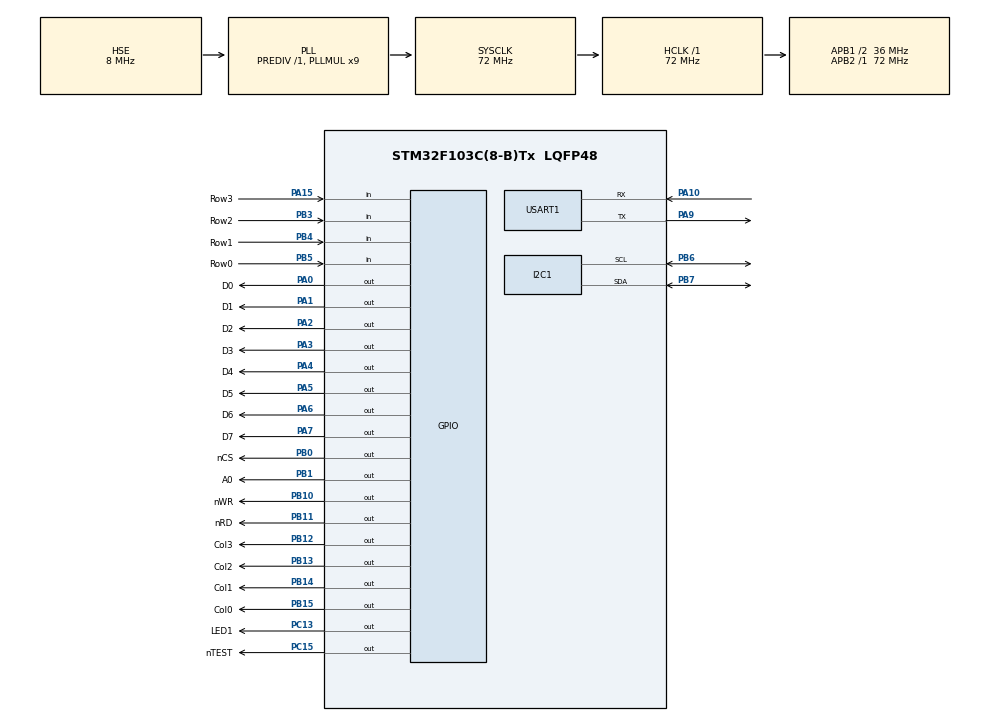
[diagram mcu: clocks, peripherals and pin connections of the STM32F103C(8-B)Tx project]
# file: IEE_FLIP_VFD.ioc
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Mcu.Family=STM32F1
Mcu.Name=STM32F103C(8-B)Tx
Mcu.Package=LQFP48
NVIC.I2C1_EV_IRQn=true\:0\:0\:false\:false\:true\:true\:true\:true
NVIC.PriorityGroup=NVIC_PRIORITYGROUP_4
NVIC.TIM1_UP_IRQn=true\:0\:0\:false\:false\:true\:true\:true\:true
NVIC.TIM2_IRQn=true\:0\:0\:false\:false\:true\:true\:true\:true
NVIC.TIM3_IRQn=true\:5\:0\:true\:false\:true\:true\:true\:true
NVIC.USART1_IRQn=true\:0\:0\:false\:false\:true\:true\:true\:true
PA0-WKUP.GPIO_Label=D0
PA0-WKUP.Signal=GPIO_Output
PA1.GPIO_Label=D1
PA1.Signal=GPIO_Output
PA10.Mode=Asynchronous
PA10.Signal=USART1_RX
PA13.Mode=Serial_Wire
PA13.Signal=SYS_JTMS-SWDIO
PA14.Mode=Serial_Wire
PA14.Signal=SYS_JTCK-SWCLK
PA15.GPIO_Label=Row3
PA15.GPIO_PuPd=GPIO_PULLUP
PA15.Signal=GPIO_Input
PA2.GPIO_Label=D2
PA2.Signal=GPIO_Output
PA3.GPIO_Label=D3
PA3.Signal=GPIO_Output
PA4.GPIO_Label=D4
PA4.Signal=GPIO_Output
PA5.GPIO_Label=D5
PA5.Signal=GPIO_Output
PA6.GPIO_Label=D6
PA6.Signal=GPIO_Output
PA7.GPIO_Label=D7
PA7.Signal=GPIO_Output
PA9.Mode=Asynchronous
PA9.Signal=USART1_TX
PB0.GPIO_Label=nCS
PB0.PinState=GPIO_PIN_SET
PB0.Signal=GPIO_Output
PB1.GPIO_Label=A0
PB1.PinState=GPIO_PIN_RESET
PB1.Signal=GPIO_Output
PB10.GPIO_Label=nWR
PB10.PinState=GPIO_PIN_SET
PB10.Signal=GPIO_Output
PB11.GPIO_Label=nRD
PB11.PinState=GPIO_PIN_SET
PB11.Signal=GPIO_Output
PB12.GPIO_Label=Col3
PB12.GPIO_ModeDefaultOutputPP=GPIO_MODE_OUTPUT_OD
PB12.GPIO_PuPd=GPIO_NOPULL
PB12.GPIO_Speed=GPIO_SPEED_FREQ_MEDIUM
PB12.PinState=GPIO_PIN_SET
PB12.Signal=GPIO_Output
PB13.GPIO_Label=Col2
PB13.GPIO_ModeDefaultOutputPP=GPIO_MODE_OUTPUT_OD
PB13.GPIO_PuPd=GPIO_NOPULL
PB13.GPIO_Speed=GPIO_SPEED_FREQ_MEDIUM
PB13.PinState=GPIO_PIN_SET
PB13.Signal=GPIO_Output
PB14.GPIO_Label=Col1
PB14.GPIO_ModeDefaultOutputPP=GPIO_MODE_OUTPUT_OD
PB14.GPIO_PuPd=GPIO_NOPULL
PB14.GPIO_Speed=GPIO_SPEED_FREQ_MEDIUM
PB14.PinState=GPIO_PIN_SET
PB14.Signal=GPIO_Output
PB15.GPIO_Label=Col0
PB15.GPIO_ModeDefaultOutputPP=GPIO_MODE_OUTPUT_OD
PB15.GPIO_PuPd=GPIO_NOPULL
PB15.GPIO_Speed=GPIO_SPEED_FREQ_MEDIUM
PB15.PinState=GPIO_PIN_SET
PB15.Signal=GPIO_Output
PB3.GPIO_Label=Row2
PB3.GPIO_PuPd=GPIO_PULLUP
PB3.Signal=GPIO_Input
PB4.GPIO_Label=Row1
PB4.GPIO_PuPd=GPIO_PULLUP
PB4.Signal=GPIO_Input
PB5.GPIO_Label=Row0
PB5.GPIO_PuPd=GPIO_PULLUP
PB5.Signal=GPIO_Input
PB6.Mode=I2C
PB6.Signal=I2C1_SCL
PB7.Mode=I2C
PB7.Signal=I2C1_SDA
PC13-TAMPER-RTC.GPIO_Label=LED1
PC13-TAMPER-RTC.Signal=GPIO_Output
PC15-OSC32_OUT.GPIO_Label=nTEST
PC15-OSC32_OUT.PinState=GPIO_PIN_SET
PC15-OSC32_OUT.Signal=GPIO_Output
PD0-OSC_IN.Mode=HSE-External-Oscillator
PD0-OSC_IN.Signal=RCC_OSC_IN
PD1-OSC_OUT.Mode=HSE-External-Oscillator
PD1-OSC_OUT.Signal=RCC_OSC_OUT
ProjectManager.HeapSize=0x200
ProjectManager.StackSize=0x400
ProjectManager.TargetToolchain=STM32CubeIDE
RCC.AHBFreq_Value=72000000
RCC.APB1CLKDivider=RCC_HCLK_DIV2
RCC.APB1Freq_Value=36000000
RCC.APB1TimFreq_Value=72000000
RCC.APB2Freq_Value=72000000
RCC.APB2TimFreq_Value=72000000
RCC.HCLKFreq_Value=72000000
RCC.PLLMUL=RCC_PLL_MUL9
RCC.PLLSourceVirtual=RCC_PLLSOURCE_HSE
RCC.SYSCLKFreq_VALUE=72000000
RCC.SYSCLKSource=RCC_SYSCLKSOURCE_PLLCLK
RCC.USBFreq_Value=72000000
TIM1.Period=200-1
TIM1.Prescaler=7200-1
TIM2.Period=200
TIM2.Prescaler=7200-1
TIM3.Period=40000-1
TIM4.Prescaler=18-1
USART1.VirtualMode=VM_ASYNC
VP_TIM1_VS_ClockSourceINT.Mode=Internal
VP_TIM2_VS_ClockSourceINT.Mode=Internal
VP_TIM3_VS_ClockSourceINT.Mode=Internal
VP_TIM4_VS_ClockSourceINT.Mode=Internal
board=custom

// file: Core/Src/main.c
/* USER CODE BEGIN Header */
/**
  ******************************************************************************
  * @file           : main.c
  * @brief          : Main program body
  ******************************************************************************
  * @attention
  *
  * Copyright (c) 2024 STMicroelectronics.
  * All rights reserved.
  *
  * This software is licensed under terms that can be found in the LICENSE file
  * in the root directory of this software component.
  * If no LICENSE file comes with this software, it is provided AS-IS.
  *
  ******************************************************************************
  *
  * Date:    18-Aug-2024
  * Author:  David Waskevich
  *
  * Description: Test application for IEE FLIP 03600-20-040 Vacuum Fluorescent Display
  *
  *              Note - adapted/ported from original Sparkfun FreeSOC2 PSoC5LP/CortexM3-based
  *              Arduino-style development kit version (available in develop branch of
  *              https://github.com/dwaskevich/IEE_FLIP_Vacuum_Fluorescent_Display.git)
  *
  * Hardware:    STM32 Blue Pill (https://predictabledesigns.com/introduction-stm32-blue-pill-stm32duino/)
  *              STM32F103C8T6 CortexM3-based development kit (64K Flash/20K SRAM, 3.3V)
  *              -> note, 30k Flash used (47%), 19k SRAM used (95%)
  *
  * IDE:         STM32CubeIDE Version: 1.16.0
  *
  * Wiring:      8-bit parallel data bus to display --> PA[7:0] (BluePill P3 header, pins 12-5)
  *              /CS   - PB0  (BluePill P3 header, pin 13)
  *               A0   - PB1  (BluePill P3 header, pin 14)
  *              /WR   - PB10 (BluePill P3 header, pin 15)
  *              /RD   - PB11 ... not used (BluePill P3 header, pin 16)
  *              /TEST - PC15 (BluePill P3 header, pin 4)
  *
  * Peripheral setup:
  *              UART - USART1 ... Tx = PA9, Rx = PA10
  *              Escape sequence timeout timer - TIM1 (oneshot mode, 20 ms interrupt)
  *              Readback timer - TIM2 (oneshot mode, 20/50 ms interrupt)
  *              Switch matrix timer - TIM3 (555 us interrupt)
  *              Hardware-based delay - TIM4 (.5 us count)
  *              I2C1 - future use (CapSense buttons)
  *              Program/Debug - SWD ... PA13 (SWDIO)/PA14 (SWDCK)
  *
  * Serial terminal (TeraTerm, etc) navigation:
  *              Up/Down arrow keys - scroll back/forward to previous/next line
  *              Right/Left arrow keys - replay line, fast/normal playback speed
  *              PageUp/PageDown keys - scroll back/forward PAGE_JUMP_SIZE lines
  *              Home key - return to the most recent line
  *              End key - go directly to the oldest line/record
  *              Delete key - enter pause/single-step mode (subsequent presses single-steps readback)
  *              Insert key - dual-purpose for now ... print the deepest FIFO level so far
  *              	and resume readback (i.e. restart readback/TIM2 timer)
  *              Escape key - abandon (escape) a readback by quickly recalling the line
  *
  * 4x4 matrix button navigation:
  *             		Col0	Col1	Col2	Col3
  *             Row0	PageUp	Home	N/A		SingleStep
  *             Row1	PageDn	End		N/A		Resume
  *             Row2	N/A		N/A		N/A		ScrollUp
  *             Row3	ReadBkF	Escape	ReadBk	ScrollDn
  *
  * Usage:       #include <iee_flip_03600_20_040.h>
  *              NOTE - arbitrarily chose BELL (ctrl-G) character to reset display.  *
  *
  * Update 18-Aug-2024:
  *		- imported source/header files from PSoC version
  *
  * Update 19-Aug-2024:
  *		- completed low-level hardware drivers for STM32
  *
  * Update 20-Aug-2024:
  *		- replaced HAL_Delay with cycle count
  *
  * Update 22-Aug-2024:
  *		- added 4x4 switch matrix
  *		- imported debounce library from https://github.com/tcleg/Button_Debouncer/tree/master
  *			-> note ... debounce library is an implementation of Jack Ganssle (https://www.ganssle.com/debouncing-pt2.htm)
  *		- replaced cycle count delay with TIM4 delay function
  *
  * Update 23-Aug-2024:
  *		- modified behavior of single-step readback
  *			-> if held, single-step reads back characters at half the readback speed
  *			-> when released, readback timer is stopped and reloaded with previous readback speed value
  *			-> press_and_release behaves the same (reads back one character for each button press)
  *
  * Update 24-Aug-2024:
  *		- fine tuned TIM4 delay function
  *			-> TIM4 is on 72MHz bus
  *			-> prescaler set to 18 (well, 18 - 1) ... 4MHz counter frequency
  *			-> modified delay_us() function to account for 4MHz clock
  *		- deactivated all column drivers in default switch condition
  *
  *
  */
/* USER CODE END Header */
#include "main.h"

/* USER CODE BEGIN Includes */
#include "stm32f1xx_ll_gpio.h"
#include "iee_flip_03600_20_040.h"
#include "stdio.h"
#include "string.h"
#include "stdbool.h"
#include "button_debounce.h"

/* USER CODE END Includes */

/* USER CODE BEGIN PD */
#define UART_FIFO_SIZE          (4096u)
#define PAGE_JUMP_SIZE          (10u)
#define INITIALIZE_REPLAY   	(0xffff)

#define LED_OFF     (1u)
#define LED_ON      (0u)

/* switch matrix defines */
#define COLUMN_INACTIVE			(1u)
#define COLUMN_ACTIVE			(0u)
#define NUM_DISPLAY_COLUMNS		(9u)
#define INTRA_COLUMN_DELAY_US	(2u)

/* USER CODE END PD */

I2C_HandleTypeDef hi2c1;

TIM_HandleTypeDef htim1;
TIM_HandleTypeDef htim2;
TIM_HandleTypeDef htim3;
TIM_HandleTypeDef htim4;

UART_HandleTypeDef huart1;

/* USER CODE BEGIN PV */
volatile uint16_t fifo_MaxLevelReached; /* debug-oriented measure of FIFO utilization */
uint8_t rxBuffer[80]; /* may not be necessary, single variable may be enough ... needs testing */
volatile uint16_t headPointer = 0, tailPointer = 0; /* FIFO head and tail pointers */
uint8_t rxFIFO[UART_FIFO_SIZE]; /* Rx FIFO ... no rollover protection, older characters overwritten if FIFO fills */
/* main loop decision flags */
volatile bool timeoutFlag = false, readBackFlag = false, singleStepFlag = false, readButtonFlag = false;
/* button processing variables */
volatile uint8_t rawButtons0 = 0, rawButtons1 = 0;
Debouncer buttons0;
Debouncer buttons1;
/* timer restore variable */
uint32_t timerRestorValue;

/* Escape sequence state machine (decodes/parses multi-character keyboard escape sequences) */
enum escSeqStates
{
    ESCAPE, /* ESC character (0x1b) detected */
    X5B,    /* looking for second escape sequence character (0x5b) */
    X7E     /* some keys (HOME, END, INSERT) generate 4-byte sequence with last character = 0x7e */
};
enum escSeqStates escSeqState = ESCAPE;

/* Switch matrix key names */
enum switchMatrix
{
	NONE		=	0x0000,
	ONE 		=	0x0001, PAGEUP = ONE,
	FOUR 		=	0x0002, PAGEDN = FOUR,
	SEVEN		=	0x0004,
	ASTERISK	=	0x0008, READBKF = ASTERISK,
	TWO			=	0x0010, GOHOME = TWO,
	FIVE		=	0x0020, GOEND = FIVE,
	EIGHT		=	0x0040,
	ZERO		=	0x0080, ESCRB = ZERO,
	THREE		=	0x0100,
	SIX			=	0x0200,
	NINE		=	0x0400,
	HASH		=	0x0800, READBK = HASH,
	SINGLE_STEP	=	0x1000,
	RESUME		=	0x2000,
	SCROLL_UP	=	0x4000,
	SCROLL_DOWN	=	0x8000
} keyNames;

/* USER CODE END PV */

void SystemClock_Config(void);
static void MX_GPIO_Init(void);
static void MX_TIM1_Init(void);
static void MX_TIM2_Init(void);
static void MX_USART1_UART_Init(void);
static void MX_I2C1_Init(void);
static void MX_TIM3_Init(void);
static void MX_TIM4_Init(void);
/* USER CODE BEGIN PFP */

void delay_us(uint16_t delay);

/* USER CODE END PFP */

int main(void)
{

  /* USER CODE BEGIN 1 */
  uint8_t printBuffer[100]; /* used for sprintf debugging */
  uint8_t rxData;
  uint8_t entryMode, cursorPosition;
  uint16_t currentLineBufferID = 0;
  uint8_t updateDisplayFlag = FALSE;
  bool isEchoFlag = true;
  bool isEscapeSequenceFlag = false;
  char escSequence[4] = {0};
  uint8_t escSequenceNum = 0;
  bool clearDisplayFlag = false;
  static uint16_t recallLineNumber = 0;
  static uint16_t replayCharNumber = 0;
  uint8_t* str;
  uint16_t buttonsPressed = 0, previousButtonsPressed = 0;

  /* USER CODE END 1 */

  /* MCU Configuration--------------------------------------------------------*/

  /* Reset of all peripherals, Initializes the Flash interface and the Systick. */
  HAL_Init();

  /* Configure the system clock */
  SystemClock_Config();

  /* Initialize all configured peripherals */
  MX_GPIO_Init();
  MX_TIM1_Init();
  MX_TIM2_Init();
  MX_USART1_UART_Init();
  MX_I2C1_Init();
  MX_TIM3_Init();
  MX_TIM4_Init();
  /* USER CODE BEGIN 2 */

  HAL_UART_Receive_IT(&huart1, rxBuffer, 1); /* start UART in interrupt mode */
  HAL_UART_Transmit(&huart1, (uint8_t *) "\x1b[2J\x1b[;HUART started\r\n", sizeof("\x1b[2J\x1b[;HUART started\r\n"), 500);
  HAL_GPIO_WritePin(LED1_GPIO_Port, LED1_Pin, LED_OFF);

  /* initialize VFD display (returns entry mode defined in .h file) */
  entryMode = VFD_InitializeDisplay(DEFAULT_ENTRY_MODE);

  /* initialize display history */
  sprintf((char *) printBuffer, "Initializing display history. Number of pages = %d\r\n", VFD_InitDisplayHistory());
  HAL_UART_Transmit(&huart1, printBuffer, strlen((char *) printBuffer), 100);

  sprintf((char *) printBuffer, "SRAM usage for display history = %d\r\n", VFD_GetSizeOfHistoryArray());
  HAL_UART_Transmit(&huart1, printBuffer, strlen((char *) printBuffer), 100);

  /* clear timer interrupts before starting forever loop */
  __HAL_TIM_CLEAR_IT(&htim1, TIM_FLAG_UPDATE);
  __HAL_TIM_CLEAR_IT(&htim2, TIM_FLAG_UPDATE);
  __HAL_TIM_CLEAR_IT(&htim3, TIM_FLAG_UPDATE);

  HAL_TIM_Base_Start_IT(&htim3);
  HAL_TIM_Base_Start(&htim4);

  ButtonDebounceInit(&buttons0, 0);
  ButtonDebounceInit(&buttons1, 0);

  /* USER CODE END 2 */

  /* Infinite loop */
  /* USER CODE BEGIN WHILE */
  while (1)
  {
	  /* check rxFIFO for incoming characters */
	  if(tailPointer != headPointer) /* if true, new data is available */
	  {
		  rxData = rxFIFO[tailPointer++]; /* retrieve new character from FIFO */
		  if(tailPointer >= UART_FIFO_SIZE) /* manage FIFO pointer rollover */
			  tailPointer = 0;
		  isEchoFlag = true; /* set flag on each new character received (true if printable character, will be reset to false if escape sequence is detected) */
		  HAL_TIM_Base_Stop_IT(&htim1); /* stop the ESC timeout timer on each new character received */

		  /* parse incoming characters for carriage return and/or line feed */
		  if(CR == rxData || LF == rxData) /* handle CR/LF here */
		  {
			  if(CR == rxData)
				  HAL_UART_Transmit(&huart1, &rxData, 1, 100); /* echo back */

			  if(LF == rxData)
				  HAL_UART_Transmit(&huart1, &rxData, 1, 100); /* echo back */

              replayCharNumber = INITIALIZE_REPLAY; /* indicates that single-step should start at 0 */
              clearDisplayFlag = true; /* reminder to clear display on next received character (style/aesthetic choice) */
              HAL_GPIO_WritePin(LED1_GPIO_Port, LED1_Pin, LED_ON); /* UserLED "ON" to indicate end-of-line (display clear pending) */

              currentLineBufferID = VFD_CreateNewLine(); /* get index for new/next line in DisplayHistory array */
              recallLineNumber = currentLineBufferID; /* make note of current line as the new recall line number */

              sprintf((char *) printBuffer, "\rLine Buffer ID = %d\r\n", currentLineBufferID);
              HAL_UART_Transmit(&huart1, printBuffer, strlen((char *) printBuffer), 100);
		  }
		  else if(CTRL_G == rxData) /* clear display */
		  {
			  sprintf((char *) printBuffer, "\r\nClearDisplay = 0x%02x\r\n", rxData);
			  HAL_UART_Transmit(&huart1, printBuffer, strlen((char *) printBuffer), 100);
              replayCharNumber = INITIALIZE_REPLAY; /* indicates that single-step should start at 0 */
              VFD_ClearDisplay();
		  }
		  else if(DEL == rxData) /* enter pause/single-step mode */
		  {
			  HAL_TIM_Base_Stop_IT(&htim2); /* stop the readback timer */
			  sprintf((char *) printBuffer, "DEL - single stepping line number %d\r\n", recallLineNumber);
			  HAL_UART_Transmit(&huart1, printBuffer, strlen((char *) printBuffer), 100);
			  singleStepFlag = true;
		  }
		  else if(ESC == rxData) /* ESC key detected ... determine if it's just the ESC key or beginning of an escape sequence */
		  {
              escSequenceNum = 0; /* track the number of characters in the escape sequence (debug) */
              escSequence[escSequenceNum++] = rxData; /* save ESC character for later (also debug) */
              isEchoFlag = false; /* negate flag to prevent escape sequence characters from being echoed */
              isEscapeSequenceFlag = true; /* ESC key detected, escape sequence is (potentially) active */
              HAL_TIM_Base_Start_IT(&htim1); /* start timeout timer (timeout period set to 20ms), will abort sequence if oneshot timer expires */
		  }
          else if(true == isEscapeSequenceFlag) /* escape key was previously detected ... parse escape sequence with state machine */
          {
              isEchoFlag = false; /* negate flag to prevent escape sequence characters from being echoed */
              switch(escSeqState) /* process/parse escape sequence */
              {
                  case ESCAPE: /* ESC key was previously detected, check next character for expected value of 0x5b */
                      if(0x5b == rxData)
                      {
                          escSequence[escSequenceNum++] = rxData; /* save character for later use */
                          escSeqState = X5B; /* move to next state */
                      }
                      else /* expected character (0x5b) in escape sequence not found ... abort */
                      {
                          isEscapeSequenceFlag = false; /* abort escape sequence processing */
                          escSeqState = ESCAPE; /* return to initial/idle state */
                      }

                      break;

                  case X5B: /* expected character (0x5b) previously found ... keep parsing escape sequence (3rd character in sequence) */
                      if(UP_ARROW == rxData) /* scroll back one line */
                      {
                          escSequence[escSequenceNum++] = rxData; /* save character for later use */
                          isEscapeSequenceFlag = false; /* escape sequence complete, return to normal mode */
                          escSeqState = ESCAPE; /* return to initial/idle state */
                          /* take action here */
                          if(0 == recallLineNumber) /* handle circular boundary */
                              recallLineNumber = NUMBER_PAGES - 1;
                          else
                              recallLineNumber -= 1;
                          sprintf((char *) printBuffer, "UP_ARROW   recall line\t... %3d\t", recallLineNumber);
                          HAL_UART_Transmit(&huart1, printBuffer, strlen((char *) printBuffer), 100);
                          replayCharNumber = INITIALIZE_REPLAY; /* indicates that single-step should start at 0 */
                          str = VFD_RecallLine(recallLineNumber); /* recall line from history and write it to display */
                          HAL_UART_Transmit(&huart1, str, strlen((char *) str), 100);
                          HAL_UART_Transmit(&huart1, (uint8_t*)"\r\n", 2, 100);
                      }
                      else if(DOWN_ARROW == rxData) /* scroll forward one line */
                      {
                          escSequence[escSequenceNum++] = rxData; /* save character for later use */
                          isEscapeSequenceFlag = false; /* escape sequence complete, return to normal mode */
                          escSeqState = ESCAPE; /* return to initial/idle state */
                          /* take action here */
                          if((NUMBER_PAGES - 1) == recallLineNumber) /* handle circular boundary */
                              recallLineNumber = 0;
                          else
                              recallLineNumber += 1;
                          sprintf((char *) printBuffer, "DOWN_ARROW recall line\t... %3d\t", recallLineNumber);
                          HAL_UART_Transmit(&huart1, printBuffer, strlen((char *) printBuffer), 100);
                          replayCharNumber = INITIALIZE_REPLAY; /* indicates that single-step should start at 0 */
                          str = VFD_RecallLine(recallLineNumber); /* recall line from history and write it to display */
                          HAL_UART_Transmit(&huart1, str, strlen((char *) str), 100);
                          HAL_UART_Transmit(&huart1, (uint8_t*)"\r\n", 2, 100);
                      }
                      else if(RIGHT_ARROW == rxData) /* replay line, normal playback speed */
                      {
                          escSequence[escSequenceNum++] = rxData; /* save character for later use */
                          isEscapeSequenceFlag = false; /* escape sequence complete, return to normal mode */
                          escSeqState = ESCAPE; /* return to initial/idle state */
                          /* take action here */
                          sprintf((char *) printBuffer, "RIGHT_ARROW (replay line) %d\r\n", recallLineNumber);
                          HAL_UART_Transmit(&huart1, printBuffer, strlen((char *) printBuffer), 100);
                          VFD_ClearDisplay();
                          __HAL_TIM_SetCounter(&htim2, 0);
                          __HAL_TIM_SetAutoreload(&htim2, READBACK_TIMER_PERIOD); /* change readback speed */
                          replayCharNumber = VFD_ReplayLine(recallLineNumber, 0); /* request to write character to display */
                          HAL_TIM_Base_Start_IT(&htim2); /* readBackFlag (set in readback timer isr) will request the next character */
                      }
                      else if(LEFT_ARROW == rxData) /* replay line, fast playback speed */
                      {
                          escSequence[escSequenceNum++] = rxData; /* save character for later use */
                          isEscapeSequenceFlag = false; /* escape sequence complete, return to normal mode */
                          escSeqState = ESCAPE; /* return to initial/idle state */
                          /* take action here */
                          sprintf((char *) printBuffer, "LEFT_ARROW (replay line) %d\r\n", recallLineNumber);
                          HAL_UART_Transmit(&huart1, printBuffer, strlen((char *) printBuffer), 100);
                          VFD_ClearDisplay();
                          __HAL_TIM_SetCounter(&htim2, 0);
                          __HAL_TIM_SetAutoreload(&htim2, FAST_READBACK_TIMER_PERIOD); /* change readback speed */
                          replayCharNumber = VFD_ReplayLine(recallLineNumber, 0); /* request to write character to display */
                          HAL_TIM_Base_Start_IT(&htim2); /* readBackFlag (set in readback timer isr) will request the next character */
                      }
                      else if(PAGE_UP == rxData) /* scroll back PAGE_JUMP_SIZE lines */
                      {
                          escSequence[escSequenceNum++] = rxData; /* save character for later use */
                          escSeqState = X7E; /* PAGE_UP is a 4-byte sequence, move to last state */
                          /* take action here */
                          if(recallLineNumber < PAGE_JUMP_SIZE) /* handle circular boundary */
                              recallLineNumber = (NUMBER_PAGES - 1) - (PAGE_JUMP_SIZE - recallLineNumber);
                          else
                              recallLineNumber -= PAGE_JUMP_SIZE;
                          sprintf((char *) printBuffer, "PAGE_UP    recall line\t... %3d\t", recallLineNumber);
                          HAL_UART_Transmit(&huart1, printBuffer, strlen((char *) printBuffer), 100);
                          replayCharNumber = INITIALIZE_REPLAY; /* indicates that single-step should start at 0 */
                          str = VFD_RecallLine(recallLineNumber); /* recall line from history and write it to display */
                          HAL_UART_Transmit(&huart1, str, strlen((char *) str), 100);
                          HAL_UART_Transmit(&huart1, (uint8_t*)"\r\n", 2, 100);
                      }
                      else if(PAGE_DOWN == rxData) /* scroll forward PAGE_JUMP_SIZE lines */
                      {
                          escSequence[escSequenceNum++] = rxData; /* save character for later use */
                          escSeqState = X7E; /* PAGE_DOWN is a 4-byte sequence, move to last state */
                          /* take action here */
                          if(recallLineNumber >= (NUMBER_PAGES - 1) - PAGE_JUMP_SIZE) /* handle circular boundary */
                              recallLineNumber = PAGE_JUMP_SIZE - ((NUMBER_PAGES - 1) - recallLineNumber);
                          else
                              recallLineNumber += PAGE_JUMP_SIZE;
                          sprintf((char *) printBuffer, "PAGE_DOWN  recall line\t... %3d\t", recallLineNumber);
                          HAL_UART_Transmit(&huart1, printBuffer, strlen((char *) printBuffer), 100);
                          replayCharNumber = INITIALIZE_REPLAY; /* indicates that single-step should start at 0 */
                          str = VFD_RecallLine(recallLineNumber); /* recall line from history and write it to display */
                          HAL_UART_Transmit(&huart1, str, strlen((char *) str), 100);
                          HAL_UART_Transmit(&huart1, (uint8_t*)"\r\n", 2, 100);
                      }
                      else if(HOME == rxData) /* return to the most recent line */
                      {
                          escSequence[escSequenceNum++] = rxData; /* save character for later use */
                          escSeqState = X7E; /* HOME is a 4-byte sequence, move to last state */
                          /* take action here */
                          replayCharNumber = INITIALIZE_REPLAY; /* indicates that single-step should start at 0 */
                          recallLineNumber = VFD_ReturnHome(); /* VFD_ReturnHome prints latest line and returns line number */
                          sprintf((char *) printBuffer, "HOME - calling VFD_ReturnHome() ... returned line number %d\r\n", recallLineNumber);
                          HAL_UART_Transmit(&huart1, printBuffer, strlen((char *) printBuffer), 100);
                      }
                      else if(END == rxData) /* go directly to the oldest line/record */
                      {
                          escSequence[escSequenceNum++] = rxData; /* save character for later use */
                          escSeqState = X7E; /* END is a 4-byte sequence, move to last state */
                          /* take action here */
                          replayCharNumber = INITIALIZE_REPLAY; /* indicates that single-step should start at 0 */
                          recallLineNumber = VFD_GoToOldest(); /* VFD_GoToOldest searches/finds (then prints) oldest line in history and returns line number */
                          sprintf((char *) printBuffer, "END - calling VFD_GoToOldest() ... returned line number %d\r\n", recallLineNumber);
                          HAL_UART_Transmit(&huart1, printBuffer, strlen((char *) printBuffer), 100);
                      }
                      else if(INSERT == rxData) /* placeholder for now ... print the deepest FIFO level so far */
                      {
                          escSequence[escSequenceNum++] = rxData; /* save character for later use */
                          escSeqState = X7E; /* INSERT is a 4-byte sequence, move to last state */
                          /* take action here */
                          sprintf((char *) printBuffer, "INSERT - fifo_MaxLevelReached = %d out of %d\r\n", fifo_MaxLevelReached, sizeof(rxFIFO));
                          HAL_UART_Transmit(&huart1, printBuffer, strlen((char *) printBuffer), 100);
                          HAL_UART_Transmit(&huart1, (uint8_t*)"restarting readback timer ...\r\n", strlen((char *)"restarting readback timer ...\r\n"), 100);
                          HAL_TIM_Base_Start_IT(&htim2);
                      }
                      else /* unknown/unexpected 3rd character */
                      {
                    	  HAL_UART_Transmit(&huart1, (uint8_t*)"Untracked 3-byte sequence\r\n", strlen((char *)"Untracked 3-byte sequence\r\n"), 100);
                          escSeqState = X7E;
                      }

                      break;

                  case X7E: /* last (4th) character of escape sequence (0x7e) */
                      if(0x7e == rxData)
                      {
                          escSequence[escSequenceNum++] = rxData; /* save character for later use */
                          /* cosmetics/debug ... print captured sequence */
                          HAL_UART_Transmit(&huart1, (uint8_t*)"4-Byte Sequence ... ", strlen((char *)"4-Byte Sequence ... "), 100);
                          for(uint8_t i = 0; i < 4; i++)
                          {
                              sprintf((char *) printBuffer, "%02x ", escSequence[i]);
                              HAL_UART_Transmit(&huart1, printBuffer, strlen((char *) printBuffer), 100);
                          }
                          HAL_UART_Transmit(&huart1, (uint8_t*)"\r\n", 2, 100);
                          isEscapeSequenceFlag = false; /* escape sequence complete, return to normal mode */
                          escSeqState = ESCAPE; /* return to initial/idle state */
                      }
                      else /* unexpected 4th character, abort escape sequence parsing */
                      {
                          HAL_UART_Transmit(&huart1, (uint8_t*)"Unexpected 4th character, aborting escape sequence parsing.\r\n", \
                        		  strlen((char *)"Unexpected 4th character, aborting escape sequence parsing.\r\n"), 100);
                          escSeqState = ESCAPE; /* return to initial/idle state */
                      }

                      break;

                  default:

                      break;
              }
          }
          else if(true == isEchoFlag) /* process printable characters here */
          {
              if(true == clearDisplayFlag) /* reminder to clear display if this is the first character of a new line */
              {
            	  HAL_GPIO_WritePin(LED1_GPIO_Port, LED1_Pin, LED_OFF); /* cosmetics ... LED_OFF indicates new line in progress */
                  replayCharNumber = INITIALIZE_REPLAY; /* indicates that single-step should start at 0 */
                  VFD_ClearDisplay(); /* this is the first character of a new line, clear display */
                  if(RIGHT_ENTRY == entryMode) /* cosmetic (positions underline at end of display) */
                      VFD_PositionCursor(DISPLAY_LINE_LENGTH - 1);
                  clearDisplayFlag = false;
              }
              HAL_UART_Transmit(&huart1, &rxData, 1, 100); /* echo received character */
              currentLineBufferID = VFD_PostToHistory(rxData); /* write to display history */
              recallLineNumber = currentLineBufferID; /* drag recallLineNumber along */
              updateDisplayFlag = TRUE; /* indicate need for display update */
          }
	  }

      if(true == timeoutFlag) /* ESC key only, not an escape sequence */
      {
    	  HAL_UART_Transmit(&huart1, (uint8_t*)"ESC\r\n", strlen((char *)"ESC\r\n"), 100); /* ESC key is a way to abandon (escape) a readback by quickly recalling the line */
          isEscapeSequenceFlag = false; /* abort/end escape sequence processing */
          timeoutFlag = false; /* clear the timer timeout interrupt flag */
          /* take action here */
          HAL_TIM_Base_Stop_IT(&htim2); /* don't need the readback timer interrupt any more ... just recall the line */
          replayCharNumber = INITIALIZE_REPLAY; /* indicates that single-step should start at 0 */
          VFD_RecallLine(recallLineNumber); /* just paint display quickly */
      }

      if(true == readBackFlag) /* readback in progress, request next character */
      {
          readBackFlag = false; /* clear the readback timer interrupt flag */
          replayCharNumber = VFD_ReplayLine(recallLineNumber, replayCharNumber); /* request a character to be printed to the display */
          if(0 != replayCharNumber) /* check if line is complete */
          {
        	  HAL_TIM_Base_Start_IT(&htim2); /* trigger/start readback oneshot timer ... TC interrupt handler will set readBackFlag */
          }
          else
              replayCharNumber = INITIALIZE_REPLAY; /* indicates that single-step should start at 0 */
      }

      if(true == singleStepFlag) /* singleStep active ... request one character */
      {
          singleStepFlag = false; /* clear the single step flag */
          if(INITIALIZE_REPLAY == replayCharNumber) /* 0xffff indicates that single-step should start at 0 */
          {
              VFD_ClearDisplay();
              replayCharNumber = VFD_ReplayLine(recallLineNumber, 0); /* request a character to be printed to the display */
          }
          else if(0 != replayCharNumber) /* check if line is complete */
          {
              replayCharNumber = VFD_ReplayLine(recallLineNumber, replayCharNumber); /* request another character to be printed to the display */
          }
      }

      if(TRUE == updateDisplayFlag) /* process display updates here */
      {
          cursorPosition = VFD_UpdateDisplay(); /* update/write to display */
          updateDisplayFlag = FALSE;
      }

      if(TRUE == readButtonFlag)
      {
    	  ButtonProcess(&buttons0, rawButtons0);
    	  ButtonProcess(&buttons1, rawButtons1);

    	  readButtonFlag = false;
      }

      buttonsPressed = (ButtonCurrent(&buttons1, BUTTON_PIN_0 | BUTTON_PIN_1 | BUTTON_PIN_2 | BUTTON_PIN_3 | BUTTON_PIN_4 | BUTTON_PIN_5 | BUTTON_PIN_6 | BUTTON_PIN_7)) << 8;
      buttonsPressed |= ButtonCurrent(&buttons0, BUTTON_PIN_0 | BUTTON_PIN_1 | BUTTON_PIN_2 | BUTTON_PIN_3 | BUTTON_PIN_4 | BUTTON_PIN_5 | BUTTON_PIN_6 | BUTTON_PIN_7);
      if(buttonsPressed != previousButtonsPressed)
	  {
//		  sprintf((char *) printBuffer, "Buttons pressed = 0x%04x\r\n", buttonsPressed);
//		  HAL_UART_Transmit(&huart1, printBuffer, strlen((char *) printBuffer), 100);
		  previousButtonsPressed = buttonsPressed;

		  switch(buttonsPressed)
		  {
		  	  case	NONE:

		  		break;

		  	  case	SCROLL_UP:
		  		  if(0 == recallLineNumber) /* handle circular boundary */
		  			  recallLineNumber = NUMBER_PAGES - 1;
		  		  else
		  			  recallLineNumber -= 1;
		  		  sprintf((char *) printBuffer, "Scroll up,   recall line ... %3d  ", recallLineNumber);
		  		  HAL_UART_Transmit(&huart1, printBuffer, strlen((char *) printBuffer), 100);
		  		  replayCharNumber = INITIALIZE_REPLAY; /* indicates that single-step should start at 0 */
		  		  str = VFD_RecallLine(recallLineNumber); /* recall line from history and write it to display */
		  		  HAL_UART_Transmit(&huart1, str, strlen((char *) str), 100);
		  		  HAL_UART_Transmit(&huart1, (uint8_t*)"\r\n", 2, 100);

		  		break;

		  	  case	SCROLL_DOWN:
                  if((NUMBER_PAGES - 1) == recallLineNumber) /* handle circular boundary */
                      recallLineNumber = 0;
                  else
                      recallLineNumber += 1;
                  sprintf((char *) printBuffer, "Scroll down, recall line ... %3d  ", recallLineNumber);
                  HAL_UART_Transmit(&huart1, printBuffer, strlen((char *) printBuffer), 100);
                  replayCharNumber = INITIALIZE_REPLAY; /* indicates that single-step should start at 0 */
                  str = VFD_RecallLine(recallLineNumber); /* recall line from history and write it to display */
                  HAL_UART_Transmit(&huart1, str, strlen((char *) str), 100);
                  HAL_UART_Transmit(&huart1, (uint8_t*)"\r\n", 2, 100);

		  		break;

		  	  case	SINGLE_STEP: /* press&release reads back one character at a time, press&hold readbacks characters at half normal readback speed */
				  HAL_TIM_Base_Stop_IT(&htim2); /* stop the readback timer */
				  timerRestorValue = __HAL_TIM_GetAutoreload(&htim2); /* save timer value for later restore */
                  __HAL_TIM_SetCounter(&htim2, 0); /* reset counter */
                  __HAL_TIM_SetAutoreload(&htim2, SINGLE_STEP_TIMER_PERIOD); /* change readback speed */
                  HAL_TIM_Base_Start_IT(&htim2); /* restart the timer ... interrupts will readback another character */
				  sprintf((char *) printBuffer, "Single stepping line number %d\r\n", recallLineNumber);
				  HAL_UART_Transmit(&huart1, printBuffer, strlen((char *) printBuffer), 100);
				  singleStepFlag = true;

		  		break;

		  	  case	RESUME: /* escape single-step mode (i.e. resume readback */
                  sprintf((char *) printBuffer, "fifo_MaxLevelReached = %d out of %d\r\n", fifo_MaxLevelReached, sizeof(rxFIFO));
                  HAL_UART_Transmit(&huart1, printBuffer, strlen((char *) printBuffer), 100);
                  HAL_UART_Transmit(&huart1, (uint8_t*)"restarting readback timer ...\r\n", strlen((char *)"restarting readback timer ...\r\n"), 100);
                  HAL_TIM_Base_Start_IT(&htim2);

		  		break;

		  	  case	READBKF: /* Readback (replay) current line at fast speed */
                  sprintf((char *) printBuffer, "Replay line (fast) %d\r\n", recallLineNumber);
                  HAL_UART_Transmit(&huart1, printBuffer, strlen((char *) printBuffer), 100);
                  VFD_ClearDisplay();
                  __HAL_TIM_SetCounter(&htim2, 0); /* reset counter */
                  __HAL_TIM_SetAutoreload(&htim2, FAST_READBACK_TIMER_PERIOD); /* change readback speed */
                  replayCharNumber = VFD_ReplayLine(recallLineNumber, 0); /* request to write character to display */
                  HAL_TIM_Base_Start_IT(&htim2); /* readBackFlag (set in readback timer isr) will request the next character */

		  		break;

		  	  case	READBK: /* Readback (replay) current line at normal speed */
                  sprintf((char *) printBuffer, "Replay line (normal speed) %d\r\n", recallLineNumber);
                  HAL_UART_Transmit(&huart1, printBuffer, strlen((char *) printBuffer), 100);
                  VFD_ClearDisplay();
                  __HAL_TIM_SetCounter(&htim2, 0);
                  __HAL_TIM_SetAutoreload(&htim2, READBACK_TIMER_PERIOD); /* change readback speed */
                  replayCharNumber = VFD_ReplayLine(recallLineNumber, 0); /* request to write character to display */
                  HAL_TIM_Base_Start_IT(&htim2); /* readBackFlag (set in readback timer isr) will request the next character */

		  		break;

		  	  case	ESCRB: /* (ESCapeReadBack) - return immediately to end of current line */
                  sprintf((char *) printBuffer, "Return to end of line %d\r\n", recallLineNumber);
                  HAL_UART_Transmit(&huart1, printBuffer, strlen((char *) printBuffer), 100);
		  		  HAL_TIM_Base_Stop_IT(&htim2); /* don't need the readback timer interrupt any more ... just recall the line */
		          replayCharNumber = INITIALIZE_REPLAY; /* indicates that single-step should start at 0 */
		          VFD_RecallLine(recallLineNumber); /* just paint display quickly */

		  		break;

		  	  case	PAGEUP: /* scroll back PAGE_JUMP_SIZE lines */
                  if(recallLineNumber < PAGE_JUMP_SIZE) /* handle circular boundary */
                      recallLineNumber = (NUMBER_PAGES - 1) - (PAGE_JUMP_SIZE - recallLineNumber);
                  else
                      recallLineNumber -= PAGE_JUMP_SIZE;
                  sprintf((char *) printBuffer, "Recall line\t... %3d\t", recallLineNumber);
                  HAL_UART_Transmit(&huart1, printBuffer, strlen((char *) printBuffer), 100);
                  replayCharNumber = INITIALIZE_REPLAY; /* indicates that single-step should start at 0 */
                  str = VFD_RecallLine(recallLineNumber); /* recall line from history and write it to display */
                  HAL_UART_Transmit(&huart1, str, strlen((char *) str), 100);
                  HAL_UART_Transmit(&huart1, (uint8_t*)"\r\n", 2, 100);

		  		break;

		  	  case	PAGEDN: /* scroll forward PAGE_JUMP_SIZE lines */
                  if(recallLineNumber >= (NUMBER_PAGES - 1) - PAGE_JUMP_SIZE) /* handle circular boundary */
                      recallLineNumber = PAGE_JUMP_SIZE - ((NUMBER_PAGES - 1) - recallLineNumber);
                  else
                      recallLineNumber += PAGE_JUMP_SIZE;
                  sprintf((char *) printBuffer, "Recall line\t... %3d\t", recallLineNumber);
                  HAL_UART_Transmit(&huart1, printBuffer, strlen((char *) printBuffer), 100);
                  replayCharNumber = INITIALIZE_REPLAY; /* indicates that single-step should start at 0 */
                  str = VFD_RecallLine(recallLineNumber); /* recall line from history and write it to display */
                  HAL_UART_Transmit(&huart1, str, strlen((char *) str), 100);
                  HAL_UART_Transmit(&huart1, (uint8_t*)"\r\n", 2, 100);

		  		break;

		  	  case	GOHOME: /* GoHome ... return to the most recent line */
                  replayCharNumber = INITIALIZE_REPLAY; /* indicates that single-step should start at 0 */
                  recallLineNumber = VFD_ReturnHome(); /* VFD_ReturnHome prints latest line and returns line number */
                  sprintf((char *) printBuffer, "Return home - calling VFD_ReturnHome() ... returned line number %d\r\n", recallLineNumber);
                  HAL_UART_Transmit(&huart1, printBuffer, strlen((char *) printBuffer), 100);

		  		break;

		  	  case	GOEND: /* GoToEnd ... go directly to the oldest line/record */
                  replayCharNumber = INITIALIZE_REPLAY; /* indicates that single-step should start at 0 */
                  recallLineNumber = VFD_GoToOldest(); /* VFD_GoToOldest searches/finds (then prints) oldest line in history and returns line number */
                  sprintf((char *) printBuffer, "END - calling VFD_GoToOldest() ... returned line number %d\r\n", recallLineNumber);
                  HAL_UART_Transmit(&huart1, printBuffer, strlen((char *) printBuffer), 100);

		  		break;

		  	  default:
		  		HAL_UART_Transmit(&huart1, (uint8_t*)"Unassigned key\r\n", strlen((char *)"Unassigned key\r\n"), 100);

		  		break;

		  }
      }

      if(ButtonReleased(&buttons1, (uint8_t) (SINGLE_STEP >> 8)))
      {
		  HAL_TIM_Base_Stop_IT(&htim2); /* stop the readback timer */
		  __HAL_TIM_SetAutoreload(&htim2, timerRestorValue); /* restore timer value to what it was before single stepping */
          __HAL_TIM_SetCounter(&htim2, 0); /* reset counter */
      }

    /* USER CODE END WHILE */

  }
}

void SystemClock_Config(void)
{
  RCC_OscInitTypeDef RCC_OscInitStruct = {0};
  RCC_ClkInitTypeDef RCC_ClkInitStruct = {0};

  /** Initializes the RCC Oscillators according to the specified parameters
  * in the RCC_OscInitTypeDef structure.
  */
  RCC_OscInitStruct.OscillatorType = RCC_OSCILLATORTYPE_HSE;
  RCC_OscInitStruct.HSEState = RCC_HSE_ON;
  RCC_OscInitStruct.HSEPredivValue = RCC_HSE_PREDIV_DIV1;
  RCC_OscInitStruct.HSIState = RCC_HSI_ON;
  RCC_OscInitStruct.PLL.PLLState = RCC_PLL_ON;
  RCC_OscInitStruct.PLL.PLLSource = RCC_PLLSOURCE_HSE;
  RCC_OscInitStruct.PLL.PLLMUL = RCC_PLL_MUL9;
  if (HAL_RCC_OscConfig(&RCC_OscInitStruct) != HAL_OK)
  {
    Error_Handler();
  }

  /** Initializes the CPU, AHB and APB buses clocks
  */
  RCC_ClkInitStruct.ClockType = RCC_CLOCKTYPE_HCLK|RCC_CLOCKTYPE_SYSCLK
                              |RCC_CLOCKTYPE_PCLK1|RCC_CLOCKTYPE_PCLK2;
  RCC_ClkInitStruct.SYSCLKSource = RCC_SYSCLKSOURCE_PLLCLK;
  RCC_ClkInitStruct.AHBCLKDivider = RCC_SYSCLK_DIV1;
  RCC_ClkInitStruct.APB1CLKDivider = RCC_HCLK_DIV2;
  RCC_ClkInitStruct.APB2CLKDivider = RCC_HCLK_DIV1;

  if (HAL_RCC_ClockConfig(&RCC_ClkInitStruct, FLASH_LATENCY_2) != HAL_OK)
  {
    Error_Handler();
  }
}

static void MX_I2C1_Init(void)
{

  hi2c1.Instance = I2C1;
  hi2c1.Init.ClockSpeed = 100000;
  hi2c1.Init.DutyCycle = I2C_DUTYCYCLE_2;
  hi2c1.Init.OwnAddress1 = 0;
  hi2c1.Init.AddressingMode = I2C_ADDRESSINGMODE_7BIT;
  hi2c1.Init.DualAddressMode = I2C_DUALADDRESS_DISABLE;
  hi2c1.Init.OwnAddress2 = 0;
  hi2c1.Init.GeneralCallMode = I2C_GENERALCALL_DISABLE;
  hi2c1.Init.NoStretchMode = I2C_NOSTRETCH_DISABLE;
  if (HAL_I2C_Init(&hi2c1) != HAL_OK)
  {
    Error_Handler();
  }

}

static void MX_TIM1_Init(void)
{

  TIM_ClockConfigTypeDef sClockSourceConfig = {0};
  TIM_MasterConfigTypeDef sMasterConfig = {0};

  htim1.Instance = TIM1;
  htim1.Init.Prescaler = 7200-1;
  htim1.Init.CounterMode = TIM_COUNTERMODE_UP;
  htim1.Init.Period = 200-1;
  htim1.Init.ClockDivision = TIM_CLOCKDIVISION_DIV1;
  htim1.Init.RepetitionCounter = 0;
  htim1.Init.AutoReloadPreload = TIM_AUTORELOAD_PRELOAD_DISABLE;
  if (HAL_TIM_Base_Init(&htim1) != HAL_OK)
  {
    Error_Handler();
  }
  sClockSourceConfig.ClockSource = TIM_CLOCKSOURCE_INTERNAL;
  if (HAL_TIM_ConfigClockSource(&htim1, &sClockSourceConfig) != HAL_OK)
  {
    Error_Handler();
  }
  sMasterConfig.MasterOutputTrigger = TIM_TRGO_RESET;
  sMasterConfig.MasterSlaveMode = TIM_MASTERSLAVEMODE_DISABLE;
  if (HAL_TIMEx_MasterConfigSynchronization(&htim1, &sMasterConfig) != HAL_OK)
  {
    Error_Handler();
  }

}

static void MX_TIM2_Init(void)
{

  TIM_ClockConfigTypeDef sClockSourceConfig = {0};
  TIM_MasterConfigTypeDef sMasterConfig = {0};

  htim2.Instance = TIM2;
  htim2.Init.Prescaler = 7200-1;
  htim2.Init.CounterMode = TIM_COUNTERMODE_UP;
  htim2.Init.Period = 200;
  htim2.Init.ClockDivision = TIM_CLOCKDIVISION_DIV1;
  htim2.Init.AutoReloadPreload = TIM_AUTORELOAD_PRELOAD_DISABLE;
  if (HAL_TIM_Base_Init(&htim2) != HAL_OK)
  {
    Error_Handler();
  }
  sClockSourceConfig.ClockSource = TIM_CLOCKSOURCE_INTERNAL;
  if (HAL_TIM_ConfigClockSource(&htim2, &sClockSourceConfig) != HAL_OK)
  {
    Error_Handler();
  }
  sMasterConfig.MasterOutputTrigger = TIM_TRGO_RESET;
  sMasterConfig.MasterSlaveMode = TIM_MASTERSLAVEMODE_DISABLE;
  if (HAL_TIMEx_MasterConfigSynchronization(&htim2, &sMasterConfig) != HAL_OK)
  {
    Error_Handler();
  }

}

static void MX_TIM3_Init(void)
{

  TIM_ClockConfigTypeDef sClockSourceConfig = {0};
  TIM_MasterConfigTypeDef sMasterConfig = {0};

  htim3.Instance = TIM3;
  htim3.Init.Prescaler = 0;
  htim3.Init.CounterMode = TIM_COUNTERMODE_UP;
  htim3.Init.Period = 40000-1;
  htim3.Init.ClockDivision = TIM_CLOCKDIVISION_DIV1;
  htim3.Init.AutoReloadPreload = TIM_AUTORELOAD_PRELOAD_DISABLE;
  if (HAL_TIM_Base_Init(&htim3) != HAL_OK)
  {
    Error_Handler();
  }
  sClockSourceConfig.ClockSource = TIM_CLOCKSOURCE_INTERNAL;
  if (HAL_TIM_ConfigClockSource(&htim3, &sClockSourceConfig) != HAL_OK)
  {
    Error_Handler();
  }
  sMasterConfig.MasterOutputTrigger = TIM_TRGO_RESET;
  sMasterConfig.MasterSlaveMode = TIM_MASTERSLAVEMODE_DISABLE;
  if (HAL_TIMEx_MasterConfigSynchronization(&htim3, &sMasterConfig) != HAL_OK)
  {
    Error_Handler();
  }

}

static void MX_TIM4_Init(void)
{

  TIM_ClockConfigTypeDef sClockSourceConfig = {0};
  TIM_MasterConfigTypeDef sMasterConfig = {0};

  htim4.Instance = TIM4;
  htim4.Init.Prescaler = 18-1;
  htim4.Init.CounterMode = TIM_COUNTERMODE_UP;
  htim4.Init.Period = 65535;
  htim4.Init.ClockDivision = TIM_CLOCKDIVISION_DIV1;
  htim4.Init.AutoReloadPreload = TIM_AUTORELOAD_PRELOAD_DISABLE;
  if (HAL_TIM_Base_Init(&htim4) != HAL_OK)
  {
    Error_Handler();
  }
  sClockSourceConfig.ClockSource = TIM_CLOCKSOURCE_INTERNAL;
  if (HAL_TIM_ConfigClockSource(&htim4, &sClockSourceConfig) != HAL_OK)
  {
    Error_Handler();
  }
  sMasterConfig.MasterOutputTrigger = TIM_TRGO_RESET;
  sMasterConfig.MasterSlaveMode = TIM_MASTERSLAVEMODE_DISABLE;
  if (HAL_TIMEx_MasterConfigSynchronization(&htim4, &sMasterConfig) != HAL_OK)
  {
    Error_Handler();
  }

}

static void MX_USART1_UART_Init(void)
{

  huart1.Instance = USART1;
  huart1.Init.BaudRate = 115200;
  huart1.Init.WordLength = UART_WORDLENGTH_8B;
  huart1.Init.StopBits = UART_STOPBITS_1;
  huart1.Init.Parity = UART_PARITY_NONE;
  huart1.Init.Mode = UART_MODE_TX_RX;
  huart1.Init.HwFlowCtl = UART_HWCONTROL_NONE;
  huart1.Init.OverSampling = UART_OVERSAMPLING_16;
  if (HAL_UART_Init(&huart1) != HAL_OK)
  {
    Error_Handler();
  }

}

static void MX_GPIO_Init(void)
{
  GPIO_InitTypeDef GPIO_InitStruct = {0};

  /* GPIO Ports Clock Enable */
  __HAL_RCC_GPIOC_CLK_ENABLE();
  __HAL_RCC_GPIOD_CLK_ENABLE();
  __HAL_RCC_GPIOA_CLK_ENABLE();
  __HAL_RCC_GPIOB_CLK_ENABLE();

  /*Configure GPIO pin Output Level */
  HAL_GPIO_WritePin(LED1_GPIO_Port, LED1_Pin, GPIO_PIN_RESET);

  /*Configure GPIO pin Output Level */
  HAL_GPIO_WritePin(nTEST_GPIO_Port, nTEST_Pin, GPIO_PIN_SET);

  /*Configure GPIO pin Output Level */
  HAL_GPIO_WritePin(GPIOA, D0_Pin|D1_Pin|D2_Pin|D3_Pin
                          |D4_Pin|D5_Pin|D6_Pin|D7_Pin, GPIO_PIN_RESET);

  /*Configure GPIO pin Output Level */
  HAL_GPIO_WritePin(GPIOB, nCS_Pin|nWR_Pin|nRD_Pin|Col3_Pin
                          |Col2_Pin|Col1_Pin|Col0_Pin, GPIO_PIN_SET);

  /*Configure GPIO pin Output Level */
  HAL_GPIO_WritePin(A0_GPIO_Port, A0_Pin, GPIO_PIN_RESET);

  /*Configure GPIO pins : LED1_Pin nTEST_Pin */
  GPIO_InitStruct.Pin = LED1_Pin|nTEST_Pin;
  GPIO_InitStruct.Mode = GPIO_MODE_OUTPUT_PP;
  GPIO_InitStruct.Pull = GPIO_NOPULL;
  GPIO_InitStruct.Speed = GPIO_SPEED_FREQ_LOW;
  HAL_GPIO_Init(GPIOC, &GPIO_InitStruct);

  /*Configure GPIO pins : D0_Pin D1_Pin D2_Pin D3_Pin
                           D4_Pin D5_Pin D6_Pin D7_Pin */
  GPIO_InitStruct.Pin = D0_Pin|D1_Pin|D2_Pin|D3_Pin
                          |D4_Pin|D5_Pin|D6_Pin|D7_Pin;
  GPIO_InitStruct.Mode = GPIO_MODE_OUTPUT_PP;
  GPIO_InitStruct.Pull = GPIO_NOPULL;
  GPIO_InitStruct.Speed = GPIO_SPEED_FREQ_LOW;
  HAL_GPIO_Init(GPIOA, &GPIO_InitStruct);

  /*Configure GPIO pins : nCS_Pin A0_Pin nWR_Pin nRD_Pin */
  GPIO_InitStruct.Pin = nCS_Pin|A0_Pin|nWR_Pin|nRD_Pin;
  GPIO_InitStruct.Mode = GPIO_MODE_OUTPUT_PP;
  GPIO_InitStruct.Pull = GPIO_NOPULL;
  GPIO_InitStruct.Speed = GPIO_SPEED_FREQ_LOW;
  HAL_GPIO_Init(GPIOB, &GPIO_InitStruct);

  /*Configure GPIO pins : Col3_Pin Col2_Pin Col1_Pin Col0_Pin */
  GPIO_InitStruct.Pin = Col3_Pin|Col2_Pin|Col1_Pin|Col0_Pin;
  GPIO_InitStruct.Mode = GPIO_MODE_OUTPUT_OD;
  GPIO_InitStruct.Pull = GPIO_NOPULL;
  GPIO_InitStruct.Speed = GPIO_SPEED_FREQ_MEDIUM;
  HAL_GPIO_Init(GPIOB, &GPIO_InitStruct);

  /*Configure GPIO pin : Row3_Pin */
  GPIO_InitStruct.Pin = Row3_Pin;
  GPIO_InitStruct.Mode = GPIO_MODE_INPUT;
  GPIO_InitStruct.Pull = GPIO_PULLUP;
  HAL_GPIO_Init(Row3_GPIO_Port, &GPIO_InitStruct);

  /*Configure GPIO pins : Row2_Pin Row1_Pin Row0_Pin */
  GPIO_InitStruct.Pin = Row2_Pin|Row1_Pin|Row0_Pin;
  GPIO_InitStruct.Mode = GPIO_MODE_INPUT;
  GPIO_InitStruct.Pull = GPIO_PULLUP;
  HAL_GPIO_Init(GPIOB, &GPIO_InitStruct);

}

/* USER CODE BEGIN 4 */
void delay_us(uint16_t delay)
{
	if(delay < 1)
		delay = 1;
	else delay = (delay - 1) * 4;
	__HAL_TIM_SetCounter(&htim4, 0);
	while(__HAL_TIM_GetCounter(&htim4) < delay);
}

void HAL_UART_RxCpltCallback(UART_HandleTypeDef *huart)
{
	rxFIFO[headPointer++] = rxBuffer[0]; /* place received character from UART in FIFO */
	if(headPointer >= UART_FIFO_SIZE) /* manage headPointer rollover (new arrivals will overwrite older) */
		headPointer = 0;

	/* calculate MAX FIFO level reached ... adjust formula based on rollover */
	if(headPointer >= tailPointer) /* normal/easy calculation if headPointer is ahead of tailPointer */
	{
		if(headPointer - tailPointer > fifo_MaxLevelReached)
			fifo_MaxLevelReached = headPointer - tailPointer;
	}
	else /* adjusted calculation if tailPointer is ahead of headPointer */
	{
		if(headPointer + UART_FIFO_SIZE - tailPointer > fifo_MaxLevelReached)
			fifo_MaxLevelReached = headPointer + UART_FIFO_SIZE - tailPointer;
	}
    HAL_UART_Receive_IT(&huart1, rxBuffer, 1); /* restart UART Rx interrupt */
}

/**
  * TIM1 - escape sequence time-out timer, TIM2 readback timer
  *
  * @brief  Period elapsed callback in non blocking mode
  * @param  htim : TIM handle
  * @retval None
  */
void HAL_TIM_PeriodElapsedCallback(TIM_HandleTypeDef *htim)
{
	static uint8_t columnCounter;
	if(htim->Instance == TIM1)
	{
		timeoutFlag = true; /* set timeOut flag to indicate escape sequence parsing should be abandoned/aborted */
		HAL_TIM_Base_Stop_IT(htim);
	}
	if(htim->Instance == TIM2)
	{
		readBackFlag = true; /* set flag to indicate that a new readback character can be requested */
		HAL_TIM_Base_Stop_IT(htim);
	}
	if(htim->Instance == TIM3) /* switch matrix multiplexing */
	{
  		switch(columnCounter++)
  		{
  			case 0:
  				rawButtons0 &= 0xf0;
  				HAL_GPIO_WritePin(Col1_GPIO_Port, Col1_Pin, COLUMN_INACTIVE);
  				HAL_GPIO_WritePin(Col2_GPIO_Port, Col2_Pin, COLUMN_INACTIVE);
  				HAL_GPIO_WritePin(Col3_GPIO_Port, Col3_Pin, COLUMN_INACTIVE);
  				HAL_GPIO_WritePin(Col0_GPIO_Port, Col0_Pin, COLUMN_ACTIVE);
  				delay_us(INTRA_COLUMN_DELAY_US);
  				rawButtons0 = (!HAL_GPIO_ReadPin(Row0_GPIO_Port, Row0_Pin)) | (!HAL_GPIO_ReadPin(Row1_GPIO_Port, Row1_Pin)) << 1 | \
  						 (!HAL_GPIO_ReadPin(Row2_GPIO_Port, Row2_Pin)) << 2 | (!HAL_GPIO_ReadPin(Row3_GPIO_Port, Row3_Pin)) << 3;

  				break;

  			case 1:
  				rawButtons0 &= 0x0f;
  				HAL_GPIO_WritePin(Col0_GPIO_Port, Col0_Pin, COLUMN_INACTIVE);
  				HAL_GPIO_WritePin(Col2_GPIO_Port, Col2_Pin, COLUMN_INACTIVE);
  				HAL_GPIO_WritePin(Col3_GPIO_Port, Col3_Pin, COLUMN_INACTIVE);
  				HAL_GPIO_WritePin(Col1_GPIO_Port, Col1_Pin, COLUMN_ACTIVE);
  				delay_us(INTRA_COLUMN_DELAY_US);
  				rawButtons0 |= ((!HAL_GPIO_ReadPin(Row0_GPIO_Port, Row0_Pin)) | (!HAL_GPIO_ReadPin(Row1_GPIO_Port, Row1_Pin)) << 1 | \
  						 (!HAL_GPIO_ReadPin(Row2_GPIO_Port, Row2_Pin)) << 2 | (!HAL_GPIO_ReadPin(Row3_GPIO_Port, Row3_Pin)) << 3) << 4;

  				break;

  			case 2:
  				rawButtons1 &= 0xf0;
  				HAL_GPIO_WritePin(Col0_GPIO_Port, Col0_Pin, COLUMN_INACTIVE);
  				HAL_GPIO_WritePin(Col1_GPIO_Port, Col1_Pin, COLUMN_INACTIVE);
  				HAL_GPIO_WritePin(Col3_GPIO_Port, Col3_Pin, COLUMN_INACTIVE);
  				HAL_GPIO_WritePin(Col2_GPIO_Port, Col2_Pin, COLUMN_ACTIVE);
  				delay_us(INTRA_COLUMN_DELAY_US);
  				rawButtons1 = (!HAL_GPIO_ReadPin(Row0_GPIO_Port, Row0_Pin)) | (!HAL_GPIO_ReadPin(Row1_GPIO_Port, Row1_Pin)) << 1 | \
  						 (!HAL_GPIO_ReadPin(Row2_GPIO_Port, Row2_Pin)) << 2 | (!HAL_GPIO_ReadPin(Row3_GPIO_Port, Row3_Pin)) << 3;

  				break;

  			case 3:
  				rawButtons1 &= 0x0f;
  				HAL_GPIO_WritePin(Col0_GPIO_Port, Col0_Pin, COLUMN_INACTIVE);
  				HAL_GPIO_WritePin(Col1_GPIO_Port, Col1_Pin, COLUMN_INACTIVE);
  				HAL_GPIO_WritePin(Col2_GPIO_Port, Col2_Pin, COLUMN_INACTIVE);
  				HAL_GPIO_WritePin(Col3_GPIO_Port, Col3_Pin, COLUMN_ACTIVE);
  				delay_us(INTRA_COLUMN_DELAY_US);
  				rawButtons1 |= ((!HAL_GPIO_ReadPin(Row0_GPIO_Port, Row0_Pin)) | (!HAL_GPIO_ReadPin(Row1_GPIO_Port, Row1_Pin)) << 1 | \
  						 (!HAL_GPIO_ReadPin(Row2_GPIO_Port, Row2_Pin)) << 2 | (!HAL_GPIO_ReadPin(Row3_GPIO_Port, Row3_Pin)) << 3) << 4;

  				break;

  			default:
  				HAL_GPIO_WritePin(Col0_GPIO_Port, Col0_Pin, COLUMN_INACTIVE);
  				HAL_GPIO_WritePin(Col1_GPIO_Port, Col1_Pin, COLUMN_INACTIVE);
  				HAL_GPIO_WritePin(Col2_GPIO_Port, Col2_Pin, COLUMN_INACTIVE);
  				HAL_GPIO_WritePin(Col3_GPIO_Port, Col3_Pin, COLUMN_INACTIVE);

  				break;
  		}

  		if(columnCounter >= NUM_DISPLAY_COLUMNS)
  		{
  			columnCounter = 0;
  			readButtonFlag = true;
  		}
	}
}

/* USER CODE END 4 */

void Error_Handler(void)
{
  __disable_irq();
  while (1)
  {
  }
}
